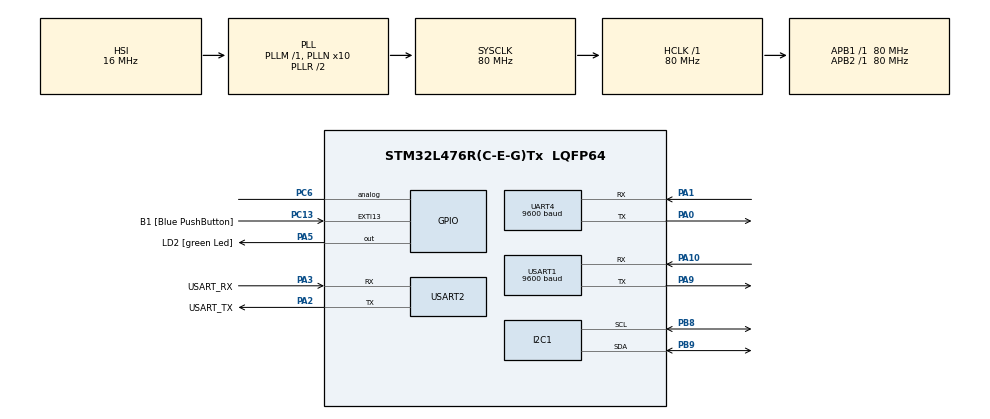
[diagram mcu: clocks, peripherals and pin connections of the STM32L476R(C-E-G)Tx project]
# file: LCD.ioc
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I2C1.Timing=0x10909CEC
Mcu.Family=STM32L4
Mcu.Name=STM32L476R(C-E-G)Tx
Mcu.Package=LQFP64
NVIC.PriorityGroup=NVIC_PRIORITYGROUP_4
NVIC.UART4_IRQn=true\:0\:0\:false\:false\:true\:true\:true
PA0.Mode=Asynchronous
PA0.Signal=UART4_TX
PA1.Mode=Asynchronous
PA1.Signal=UART4_RX
PA10.Mode=Asynchronous
PA10.Signal=USART1_RX
PA13\ (JTMS-SWDIO).GPIO_Label=TMS
PA13\ (JTMS-SWDIO).Mode=Serial_Wire
PA13\ (JTMS-SWDIO).Signal=SYS_JTMS-SWDIO
PA14\ (JTCK-SWCLK).GPIO_Label=TCK
PA14\ (JTCK-SWCLK).Mode=Serial_Wire
PA14\ (JTCK-SWCLK).Signal=SYS_JTCK-SWCLK
PA2.GPIO_Label=USART_TX
PA2.GPIO_Mode=GPIO_MODE_AF_PP
PA2.GPIO_PuPd=GPIO_NOPULL
PA2.GPIO_Speed=GPIO_SPEED_FREQ_VERY_HIGH
PA2.Mode=Asynchronous
PA2.Signal=USART2_TX
PA3.GPIO_Label=USART_RX
PA3.GPIO_Mode=GPIO_MODE_AF_PP
PA3.GPIO_PuPd=GPIO_NOPULL
PA3.GPIO_Speed=GPIO_SPEED_FREQ_VERY_HIGH
PA3.Mode=Asynchronous
PA3.Signal=USART2_RX
PA5.GPIO_Label=LD2 [green Led]
PA5.GPIO_ModeDefaultOutputPP=GPIO_MODE_OUTPUT_PP
PA5.GPIO_PuPd=GPIO_NOPULL
PA5.GPIO_Speed=GPIO_SPEED_FREQ_LOW
PA5.Signal=GPIO_Output
PA9.Mode=Asynchronous
PA9.Signal=USART1_TX
PB3\ (JTDO-TRACESWO).GPIO_Label=SWO
PB3\ (JTDO-TRACESWO).Signal=SYS_JTDO-SWO
PB8.Mode=I2C
PB8.Signal=I2C1_SCL
PB9.Mode=I2C
PB9.Signal=I2C1_SDA
PC13.GPIO_Label=B1 [Blue PushButton]
PC13.GPIO_ModeDefaultEXTI=GPIO_MODE_IT_FALLING
PC13.GPIO_PuPd=GPIO_NOPULL
PC13.Signal=GPXTI13
PC14-OSC32_IN\ (PC14).Mode=LSE-External-Oscillator
PC14-OSC32_IN\ (PC14).Signal=RCC_OSC32_IN
PC15-OSC32_OUT\ (PC15).Mode=LSE-External-Oscillator
PC15-OSC32_OUT\ (PC15).Signal=RCC_OSC32_OUT
PC6.Signal=GPIO_Analog
PH0-OSC_IN\ (PH0).Signal=RCC_OSC_IN
PH1-OSC_OUT\ (PH1).Signal=RCC_OSC_OUT
ProjectManager.HeapSize=0x200
ProjectManager.StackSize=0x400
ProjectManager.TargetToolchain=STM32CubeIDE
RCC.ADCFreq_Value=64000000
RCC.AHBFreq_Value=80000000
RCC.APB1Freq_Value=80000000
RCC.APB1TimFreq_Value=80000000
RCC.APB2Freq_Value=80000000
RCC.APB2TimFreq_Value=80000000
RCC.CortexFreq_Value=80000000
RCC.HCLKFreq_Value=80000000
RCC.HSE_VALUE=8000000
RCC.HSI_VALUE=16000000
RCC.MSI_VALUE=4000000
RCC.PLLN=10
RCC.PLLSourceVirtual=RCC_PLLSOURCE_HSI
RCC.PREFETCH_ENABLE=1
RCC.SYSCLKFreq_VALUE=80000000
RCC.SYSCLKSource=RCC_SYSCLKSOURCE_PLLCLK
RCC.USBFreq_Value=64000000
RCC.VCOOutputFreq_Value=160000000
TIM2.Prescaler=80-1
UART4.BaudRate=9600
USART1.BaudRate=9600
USART1.VirtualMode-Asynchronous=VM_ASYNC
USART2.VirtualMode-Asynchronous=VM_ASYNC
VP_TIM2_VS_ClockSourceINT.Mode=Internal
board=NUCLEO-L476RG

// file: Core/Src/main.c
/* USER CODE BEGIN Header */
/**
  ******************************************************************************
  * @file           : main.c
  * @brief          : Main program body
  ******************************************************************************
  * @attention
  *
  * Copyright (c) 2022 STMicroelectronics.
  * All rights reserved.
  *
  * This software is licensed under terms that can be found in the LICENSE file
  * in the root directory of this software component.
  * If no LICENSE file comes with this software, it is provided AS-IS.
  *
  ******************************************************************************
  */
/* USER CODE END Header */
#include "main.h"
#include "i2c.h"
#include "tim.h"
#include "usart.h"
#include "gpio.h"

/* USER CODE BEGIN Includes */
#include "LCD.h"
#include "caracter.h"
#include "stdio.h"
#include "HT.h"
#include "timer.h"

/* USER CODE END Includes */

/* USER CODE BEGIN PV */
float Temperature =0, Humidite =0;
uint16_t RH=0, TEMP=0;
uint8_t dataH1;
uint8_t dataH2;
uint8_t dataT1;
uint8_t dataT2;
uint8_t SUM;

/* USER CODE END PV */

void SystemClock_Config(void);

/* USER CODE BEGIN 0 */
static rgb_lcd ok;
/* USER CODE END 0 */

int main(void)
{

  /* MCU Configuration--------------------------------------------------------*/

  /* Reset of all peripherals, Initializes the Flash interface and the Systick. */
  HAL_Init();

  /* Configure the system clock */
  SystemClock_Config();

  /* Initialize all configured peripherals */
  MX_GPIO_Init();
  MX_USART2_UART_Init();
  MX_I2C1_Init();
  MX_UART4_Init();
  MX_TIM2_Init();
  MX_USART1_UART_Init();
  /* USER CODE BEGIN 2 */
  DWT_Delay_Init();
   float temp=0;
   float humidity=0;
   char ok;
   TMP_init(hi2c1);
  /* USER CODE END 2 */

  /* Infinite loop */
  /* USER CODE BEGIN WHILE */
  while (1)
  {
	  /*	DHT22	*/
	  Data_Output(GPIOA, GPIO_PIN_1);
	  HAL_GPIO_WritePin(GPIOA, GPIO_PIN_1, GPIO_PIN_RESET);
	  DWT_Delay_us(1200);
	  HAL_GPIO_WritePin(GPIOA, GPIO_PIN_1, GPIO_PIN_SET);
	  DWT_Delay_us(30);
	  Data_Input(GPIOA, GPIO_PIN_1);

	  while(!(HAL_GPIO_ReadPin(GPIOA, GPIO_PIN_1)));
int k;
	  for (k=0;k<1000;k++)
	 	  {
	 		  if (HAL_GPIO_ReadPin (GPIOA, GPIO_PIN_1) == GPIO_PIN_RESET)
	 		  {
	 	  	  	break;
	 	  	  }
	 	  }

	 	  while(!(HAL_GPIO_ReadPin(GPIOA, GPIO_PIN_1)));
	 	  DWT_Delay_us(40);

	 	  Read_data(&dataH1); //dans la library HT.c
	 	  Read_data(&dataH2);
	 	  Read_data(&dataT1);
	 	  Read_data(&dataT2);
	 	  Read_data(&SUM);

	 	 // check = dataH1 + dataH2 + dataT1 + dataT2; //pour verifier la lecture dans le IDE

	 	  RH = (dataH1<<8) | dataH2;
	 	  TEMP = (dataT1<<8) | dataT2;

	 	  Humidite = RH / 10.0;
	 	  Temperature = TEMP / 10.0;

	 	  HAL_GPIO_WritePin(GPIOA, GPIO_PIN_1, GPIO_PIN_SET); //pour la prochaine lecture

float Tmoyen;
float Hmoyen;

	  /*Capteur I2C*/
	  char res [10];
	  char res1[10];

	  Temp_read(&temp, &humidity);
	  Tmoyen = (temp + Temperature)/2;
	  Hmoyen = (humidity + Humidite)/2;
	  ftoat (Tmoyen,res1,1);
	  ftoat (Hmoyen,res,1);

	  char tel[10];
	  char tel1[10];
	  tel[0]='*';
	  tel1[0]='*';
	  tel[1]='H';
	  tel1[1]='T';
	  for(int i=0; i<2;i++)
	  {
		  tel[i+2]=res[i];
		  tel1[i+2]=res1[i];
	  }

	  res[4]='H';
	  res1[4]='T';

	  HAL_UART_Transmit(&huart4, &res, 5, 1000);
	  HAL_UART_Transmit(&huart1, &tel,4,1000);
	  HAL_Delay(1000);
	  HAL_UART_Transmit(&huart4, &res1, 5, 1000);
	  HAL_UART_Transmit(&huart1, &tel1,4,1000);
	  HAL_Delay(1000);

    /* USER CODE END WHILE */

  }
}

void SystemClock_Config(void)
{
  RCC_OscInitTypeDef RCC_OscInitStruct = {0};
  RCC_ClkInitTypeDef RCC_ClkInitStruct = {0};

  /** Configure the main internal regulator output voltage
  */
  if (HAL_PWREx_ControlVoltageScaling(PWR_REGULATOR_VOLTAGE_SCALE1) != HAL_OK)
  {
    Error_Handler();
  }
  /** Initializes the RCC Oscillators according to the specified parameters
  * in the RCC_OscInitTypeDef structure.
  */
  RCC_OscInitStruct.OscillatorType = RCC_OSCILLATORTYPE_HSI;
  RCC_OscInitStruct.HSIState = RCC_HSI_ON;
  RCC_OscInitStruct.HSICalibrationValue = RCC_HSICALIBRATION_DEFAULT;
  RCC_OscInitStruct.PLL.PLLState = RCC_PLL_ON;
  RCC_OscInitStruct.PLL.PLLSource = RCC_PLLSOURCE_HSI;
  RCC_OscInitStruct.PLL.PLLM = 1;
  RCC_OscInitStruct.PLL.PLLN = 10;
  RCC_OscInitStruct.PLL.PLLP = RCC_PLLP_DIV7;
  RCC_OscInitStruct.PLL.PLLQ = RCC_PLLQ_DIV2;
  RCC_OscInitStruct.PLL.PLLR = RCC_PLLR_DIV2;
  if (HAL_RCC_OscConfig(&RCC_OscInitStruct) != HAL_OK)
  {
    Error_Handler();
  }
  /** Initializes the CPU, AHB and APB buses clocks
  */
  RCC_ClkInitStruct.ClockType = RCC_CLOCKTYPE_HCLK|RCC_CLOCKTYPE_SYSCLK
                              |RCC_CLOCKTYPE_PCLK1|RCC_CLOCKTYPE_PCLK2;
  RCC_ClkInitStruct.SYSCLKSource = RCC_SYSCLKSOURCE_PLLCLK;
  RCC_ClkInitStruct.AHBCLKDivider = RCC_SYSCLK_DIV1;
  RCC_ClkInitStruct.APB1CLKDivider = RCC_HCLK_DIV1;
  RCC_ClkInitStruct.APB2CLKDivider = RCC_HCLK_DIV1;

  if (HAL_RCC_ClockConfig(&RCC_ClkInitStruct, FLASH_LATENCY_4) != HAL_OK)
  {
    Error_Handler();
  }
}

void Error_Handler(void)
{
  __disable_irq();
  while (1)
  {
  }
}
